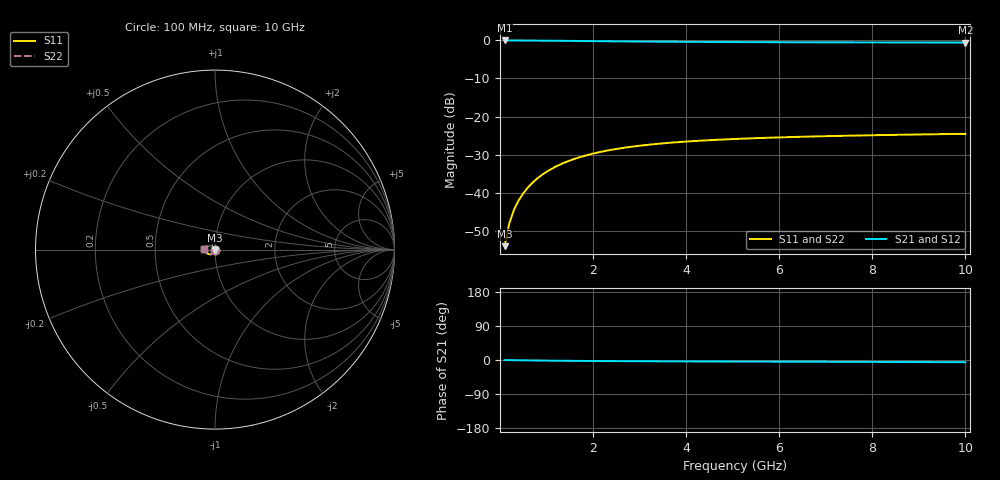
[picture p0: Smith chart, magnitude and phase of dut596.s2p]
! Touchstone file exported from HFSS 2024.1.0
!  File:  C:/UserFiles/LocalFiles/RDL_TSV_Batchsim/temp_TSV1_596_1779710710.aedt
!  Generated:  08:13:27 PM May 25, 2026
!  Design:  TSV1
!  Project:  temp_TSV1_596_1779710710
!  Setup:  Setup1
!  Solution:  Sweep
! Variables:
!  dtsv = 12.55um
!  hbump = 3um
!  htsv = 89.95um
!  lrdl = 252.1521522um
!  p = 40
!  p1 = 58.52um
!  t = 500um
!  trdl = 3um
!  wrdl = 24.89489489um
# GHz S MA R 50.000000
! Terminal data exported
! Port[1] = TSV22_T1
! Port[2] = TSV22_T2
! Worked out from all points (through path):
!   100 points, 100 MHz to 10 GHz, reference 50 ohm
!   highest |S21| = 0.00 dB at 100 MHz (marker M1); lowest = -0.5 dB at 10 GHz (marker M2)
!   lowest |S11| = -54.1 dB at 100 MHz (marker M3), VSWR 1.00, Z = 50 - j0.198 ohm
!   |S11| at or under -10 dB: start of sweep to end of sweep
!   |S22| runs from -54.1 to -24.5 dB; largest |S21 - S12| = 4e-15
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0.1  0.001978 -89.4  0.9998 -0.2  0.9998 -0.2  0.001978 -89.4
! Gamma 0 0 0 0
! Port Impedance 50 0 50 0
0.2  0.00395 -92.8  0.9996 -0.3  0.9996 -0.3  0.00395 -92.8
0.3  0.005913 -95.4  0.9992 -0.5  0.9992 -0.5  0.005913 -95.4
0.4  0.007858 -97.8  0.9987 -0.7  0.9987 -0.7  0.007858 -97.8
0.5  0.009777 -100.1  0.998 -0.8  0.998 -0.8  0.009777 -100.1
0.6  0.01166 -102.3  0.9972 -1.0  0.9972 -1.0  0.01166 -102.3
0.7  0.01351 -104.5  0.9963 -1.2  0.9963 -1.2  0.01351 -104.5
0.8  0.01531 -106.6  0.9954 -1.3  0.9954 -1.3  0.01531 -106.6
0.9  0.01706 -108.7  0.9943 -1.5  0.9943 -1.5  0.01706 -108.7
1.1  0.0204 -112.7  0.9919 -1.7  0.9919 -1.7  0.0204 -112.7
1.4  0.02498 -118.4  0.988 -2.1  0.988 -2.1  0.02498 -118.4
1.6  0.02774 -121.9  0.9853 -2.3  0.9853 -2.3  0.02774 -121.9
1.8  0.03027 -125.2  0.9826 -2.5  0.9826 -2.5  0.03027 -125.2
2.1  0.03365 -129.8  0.9786 -2.7  0.9786 -2.7  0.03365 -129.8
2.5  0.03747 -135.3  0.9735 -3.0  0.9735 -3.0  0.03747 -135.3
2.9  0.04063 -140.2  0.969 -3.2  0.969 -3.2  0.04063 -140.2
3.4  0.04384 -145.5  0.964 -3.5  0.964 -3.5  0.04384 -145.5
4.2  0.04773 -152.8  0.9577 -3.8  0.9577 -3.8  0.04773 -152.8
5.1  0.05087 -159.4  0.9523 -4.1  0.9523 -4.1  0.05087 -159.4
6.7  0.05463 -168.7  0.9459 -4.6  0.9459 -4.6  0.05463 -168.7
8.4  0.05733 -176.5  0.9417 -5.2  0.9417 -5.2  0.05733 -176.5
10  0.05927 177.3  0.939 -5.8  0.939 -5.8  0.05927 177.3
